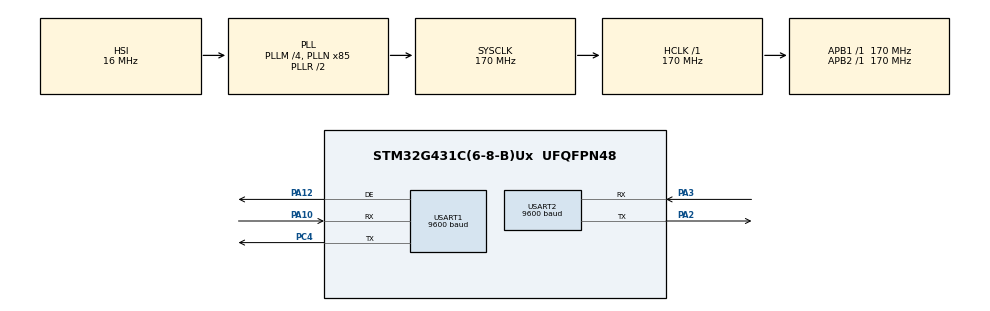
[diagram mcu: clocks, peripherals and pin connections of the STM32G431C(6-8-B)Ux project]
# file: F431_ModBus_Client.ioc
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Mcu.Family=STM32G4
Mcu.Name=STM32G431C(6-8-B)Ux
Mcu.Package=UFQFPN48
NVIC.PriorityGroup=NVIC_PRIORITYGROUP_4
NVIC.USART1_IRQn=true\:0\:0\:false\:false\:true\:true\:true\:true
NVIC.USART2_IRQn=true\:0\:0\:false\:false\:true\:true\:true\:true
PA10.Mode=Asynchronous
PA10.Signal=USART1_RX
PA12.Mode=Hardware Flow Control (RS485)
PA12.Signal=USART1_DE
PA13.Mode=Serial_Wire
PA13.Signal=SYS_JTMS-SWDIO
PA14.Mode=Serial_Wire
PA14.Signal=SYS_JTCK-SWCLK
PA2.Mode=Asynchronous
PA2.Signal=USART2_TX
PA3.Mode=Asynchronous
PA3.Signal=USART2_RX
PC4.Mode=Asynchronous
PC4.Signal=USART1_TX
PF0-OSC_IN.Mode=HSE-External-Oscillator
PF0-OSC_IN.Signal=RCC_OSC_IN
PF1-OSC_OUT.Mode=HSE-External-Oscillator
PF1-OSC_OUT.Signal=RCC_OSC_OUT
ProjectManager.HeapSize=0x200
ProjectManager.StackSize=0x400
ProjectManager.TargetToolchain=CMake
RCC.ADC12Freq_Value=170000000
RCC.AHBFreq_Value=170000000
RCC.APB1Freq_Value=170000000
RCC.APB1TimFreq_Value=170000000
RCC.APB2Freq_Value=170000000
RCC.APB2TimFreq_Value=170000000
RCC.CortexFreq_Value=170000000
RCC.EXTERNAL_CLOCK_VALUE=12288000
RCC.HCLKFreq_Value=170000000
RCC.HSE_VALUE=8000000
RCC.HSI48_VALUE=48000000
RCC.HSI_VALUE=16000000
RCC.LSE_VALUE=32768
RCC.PLLM=RCC_PLLM_DIV4
RCC.PLLN=85
RCC.SYSCLKFreq_VALUE=170000000
RCC.SYSCLKSource=RCC_SYSCLKSOURCE_PLLCLK
RCC.USBFreq_Value=170000000
RCC.VCOOutputFreq_Value=340000000
USART1.BaudRate=9600
USART1.VirtualMode-Asynchronous=VM_ASYNC
USART1.VirtualMode-Hardware\ Flow\ Control\ (RS485)=VM_ASYNC
USART2.BaudRate=9600
USART2.VirtualMode-Asynchronous=VM_ASYNC
VP_SYS_VS_DBSignals.Mode=DisableDeadBatterySignals
board=custom

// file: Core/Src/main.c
/* USER CODE BEGIN Header */
/**
  ******************************************************************************
  * @file           : main.c
  * @brief          : Main program body
  ******************************************************************************
  * @attention
  *
  * Copyright (c) 2026 STMicroelectronics.
  * All rights reserved.
  *
  * This software is licensed under terms that can be found in the LICENSE file
  * in the root directory of this software component.
  * If no LICENSE file comes with this software, it is provided AS-IS.
  *
  ******************************************************************************
  */
/* USER CODE END Header */
#include "main.h"
#include "usart.h"
#include "gpio.h"

/* USER CODE BEGIN Includes */
#include "modbus_client.h"
/* USER CODE END Includes */

/* USER CODE BEGIN PTD */
// Буферы для хранения полученных данных
#define MAX_HOLDING_REGISTERS    100
#define MAX_INPUT_REGISTERS      100
#define MAX_COILS                200
/* USER CODE END PTD */

/* USER CODE BEGIN PV */
ModbusClient modbus_client;

// Структуры для хранения данных
typedef struct {
    uint16_t address;
    uint16_t values[MAX_HOLDING_REGISTERS];
    uint16_t count;
    uint32_t timestamp;
} HoldingRegisters_t;

typedef struct {
    uint16_t address;
    uint16_t values[MAX_INPUT_REGISTERS];
    uint16_t count;
    uint32_t timestamp;
} InputRegisters_t;

typedef struct {
    uint16_t address;
    uint8_t coils[MAX_COILS / 8];
    uint16_t count;
    uint32_t timestamp;
} Coils_t;

// Глобальные переменные для хранения данных
static HoldingRegisters_t holding_regs = {0};
static InputRegisters_t input_regs = {0};
static Coils_t coils = {0};
/* USER CODE END PV */

void SystemClock_Config(void);
/* USER CODE BEGIN PFP */
void ModbusCallback(uint8_t slave_addr, uint8_t function, uint8_t *data, uint16_t len, bool success)
{
  if (!success)
  {
    // Обработка ошибки
    if(len > 0)
    {
      uint8_t exception_code = data[0]; // Код исключения находится в первом байте данных

      switch (exception_code) {
        case MODBUS_EXCEPTION_ILLEGAL_FUNCTION:
          // Неверный код функции
          break;
        case MODBUS_EXCEPTION_ILLEGAL_DATA_ADDR:
          // Неверный адрес данных
          break;
        case MODBUS_EXCEPTION_ILLEGAL_DATA_VALUE:
          // Неверное значение данных
          break;
        case MODBUS_EXCEPTION_SLAVE_DEVICE_FAILURE:
          // Ошибка устройства-слейва
          break;
        case MODBUS_EXCEPTION_ACKNOWLEDGE:
          // Подтверждение
          break;
        case MODBUS_EXCEPTION_SLAVE_DEVICE_BUSY:
          // Устройство-слейв занято
          break;
        case MODBUS_EXCEPTION_MEMORY_PARITY_ERROR:
          // Ошибка четности памяти
          break;
        case MODBUS_EXCEPTION_GATEWAY_PATH_UNAVAIL:
          // Путь шлюза недоступен
          break;
        case MODBUS_EXCEPTION_GATEWAY_TARGET_FAILED:
          // Цель шлюза не отвечает
          break;
        default:
          // Неизвестная ошибка
          break;

      }
    }

  }
  else
  {
    // Обработка успешного ответа

    switch (function) {
      case MODBUS_FUNC_READ_COILS:
        // Обработка данных катушек
        break;
      case MODBUS_FUNC_READ_DISCRETE_INPUTS:
        // Обработка данных дискретных входов
        break;
      case MODBUS_FUNC_READ_HOLDING_REGISTERS:
        // Обработка данных holding регистров
        uint8_t byte_count = data[0]; // Количество байт данных
        uint16_t reg_count = byte_count / 2; // Количество регистров (для функций чтения регистров)

        // Сохраняем в глобальную структуру
        holding_regs.address = slave_addr; // Адрес устройства-слейва
        holding_regs.count = reg_count; // Количество регистров
        holding_regs.timestamp = HAL_GetTick(); // Время получения данных

        for (uint16_t i = 0; i < reg_count; i++) {
            holding_regs.values[i] = (data[1 + i*2] << 8) | data[2 + i*2]; // Сохранение регистра
        }
        break;
      case MODBUS_FUNC_READ_INPUT_REGISTERS:
        // Обработка данных input регистров
        break;
      case MODBUS_FUNC_WRITE_SINGLE_COIL:
        // Подтверждение записи катушки
        break;
      case MODBUS_FUNC_WRITE_SINGLE_REGISTER:
        // Подтверждение записи регистра
        break;
      case MODBUS_FUNC_WRITE_MULTIPLE_COILS:
        // Подтверждение записи нескольких катушек
        break;
      case MODBUS_FUNC_WRITE_MULTIPLE_REGISTERS:
        // Подтверждение записи нескольких регистров
        break;
      default:
        // Неизвестная функция
        break;
    }
  }
}
/* USER CODE END PFP */

int main(void)
{

  /* MCU Configuration--------------------------------------------------------*/

  /* Reset of all peripherals, Initializes the Flash interface and the Systick. */
  HAL_Init();

  /* Configure the system clock */
  SystemClock_Config();

  /* Initialize all configured peripherals */
  MX_GPIO_Init();
  MX_USART1_UART_Init();
  MX_USART2_UART_Init();
  /* USER CODE BEGIN 2 */
  // Инициализация Modbus клиента
  MODBUS_Init(&modbus_client, &huart1, 0x01);
  MODBUS_SetTimeout(&modbus_client, 1000);
  MODBUS_SetRetries(&modbus_client, 3);
  MODBUS_SetCallback(&modbus_client, ModbusCallback);

  // Проверка, не устарели ли данные (например, старше 10 секунд)
  bool MODBUS_IsDataFresh(uint32_t timestamp, uint32_t max_age_ms)
  {
    return (HAL_GetTick() - timestamp) < max_age_ms;
  }
  /* USER CODE END 2 */

  /* Infinite loop */
  while (1)
  {

    /* USER CODE BEGIN 3 */
    MODBUS_Process(&modbus_client);
    static uint32_t last_read = 0; // Время последнего чтения
    // Каждые 2 секунды читаем данные
    if ((HAL_GetTick() - last_read) > 2000)
    {
      MODBUS_ReadHoldingRegisters(&modbus_client, 0x01, 0x0001, 1);
      last_read = HAL_GetTick();
    }

    // Проверка свежести данных
    if (MODBUS_IsDataFresh(holding_regs.timestamp, 10000)) {
        // Данные свежие, можно использовать
        int value = holding_regs.values[0]; // Получаем значение первого регистра

    } else {
        // Данные устарели, нужно обновить
        MODBUS_ReadHoldingRegisters(&modbus_client, 0x01, 0x0000, 1);
    }
  }
  /* USER CODE END 3 */
}

void SystemClock_Config(void)
{
  RCC_OscInitTypeDef RCC_OscInitStruct = {0};
  RCC_ClkInitTypeDef RCC_ClkInitStruct = {0};

  /** Configure the main internal regulator output voltage
  */
  HAL_PWREx_ControlVoltageScaling(PWR_REGULATOR_VOLTAGE_SCALE1_BOOST);

  /** Initializes the RCC Oscillators according to the specified parameters
  * in the RCC_OscInitTypeDef structure.
  */
  RCC_OscInitStruct.OscillatorType = RCC_OSCILLATORTYPE_HSI;
  RCC_OscInitStruct.HSIState = RCC_HSI_ON;
  RCC_OscInitStruct.HSICalibrationValue = RCC_HSICALIBRATION_DEFAULT;
  RCC_OscInitStruct.PLL.PLLState = RCC_PLL_ON;
  RCC_OscInitStruct.PLL.PLLSource = RCC_PLLSOURCE_HSI;
  RCC_OscInitStruct.PLL.PLLM = RCC_PLLM_DIV4;
  RCC_OscInitStruct.PLL.PLLN = 85;
  RCC_OscInitStruct.PLL.PLLP = RCC_PLLP_DIV2;
  RCC_OscInitStruct.PLL.PLLQ = RCC_PLLQ_DIV2;
  RCC_OscInitStruct.PLL.PLLR = RCC_PLLR_DIV2;
  if (HAL_RCC_OscConfig(&RCC_OscInitStruct) != HAL_OK)
  {
    Error_Handler();
  }

  /** Initializes the CPU, AHB and APB buses clocks
  */
  RCC_ClkInitStruct.ClockType = RCC_CLOCKTYPE_HCLK|RCC_CLOCKTYPE_SYSCLK
                              |RCC_CLOCKTYPE_PCLK1|RCC_CLOCKTYPE_PCLK2;
  RCC_ClkInitStruct.SYSCLKSource = RCC_SYSCLKSOURCE_PLLCLK;
  RCC_ClkInitStruct.AHBCLKDivider = RCC_SYSCLK_DIV1;
  RCC_ClkInitStruct.APB1CLKDivider = RCC_HCLK_DIV1;
  RCC_ClkInitStruct.APB2CLKDivider = RCC_HCLK_DIV1;

  if (HAL_RCC_ClockConfig(&RCC_ClkInitStruct, FLASH_LATENCY_4) != HAL_OK)
  {
    Error_Handler();
  }
}

/* USER CODE BEGIN 4 */
// Обработчики прерываний UART
void HAL_UART_RxCpltCallback(UART_HandleTypeDef *huart)
{
    if (huart->Instance == USART1) {
        MODBUS_UART_RxCpltCallback(&modbus_client);
    }
}

void HAL_UART_TxCpltCallback(UART_HandleTypeDef *huart)
{
    if (huart->Instance == USART1) {
        MODBUS_UART_TxCpltCallback(&modbus_client);
    }
}

void HAL_UART_ErrorCallback(UART_HandleTypeDef *huart)
{
    if (huart->Instance == USART1) {
        MODBUS_UART_ErrorCallback(&modbus_client);
    }
}
/* USER CODE END 4 */

void Error_Handler(void)
{
  __disable_irq();
  while (1)
  {
  }
}
